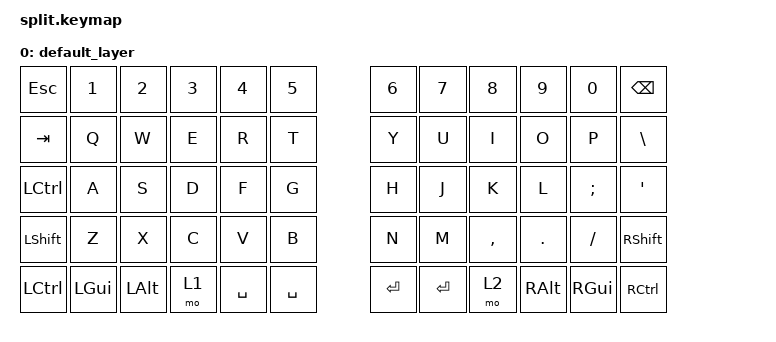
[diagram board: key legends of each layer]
/*
 * Copyright (c) 2022 The ZMK Contributors
 *
 * SPDX-License-Identifier: MIT
 */

#include <behaviors.dtsi>
#include <dt-bindings/zmk/keys.h>
#include <dt-bindings/zmk/bt.h>

/ {
    keymap {
        compatible = "zmk,keymap";

        default_layer {
            bindings = <
                // Left side (12 keys per row)                                          Right side (12 keys per row)
                &kp ESC   &kp N1    &kp N2    &kp N3    &kp N4    &kp N5               &kp N6    &kp N7    &kp N8    &kp N9    &kp N0    &kp BSPC
                &kp TAB   &kp Q     &kp W     &kp E     &kp R     &kp T                &kp Y     &kp U     &kp I     &kp O     &kp P     &kp BSLH
                &kp LCTRL &kp A     &kp S     &kp D     &kp F     &kp G                &kp H     &kp J     &kp K     &kp L     &kp SEMI  &kp SQT
                &kp LSHFT &kp Z     &kp X     &kp C     &kp V     &kp B                &kp N     &kp M     &kp COMMA &kp DOT   &kp FSLH  &kp RSHFT
                &kp LCTRL &kp LGUI  &kp LALT  &mo 1     &kp SPACE &kp SPACE            &kp RET   &kp RET   &mo 2     &kp RALT  &kp RGUI  &kp RCTRL
            >;
        };
    };
};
